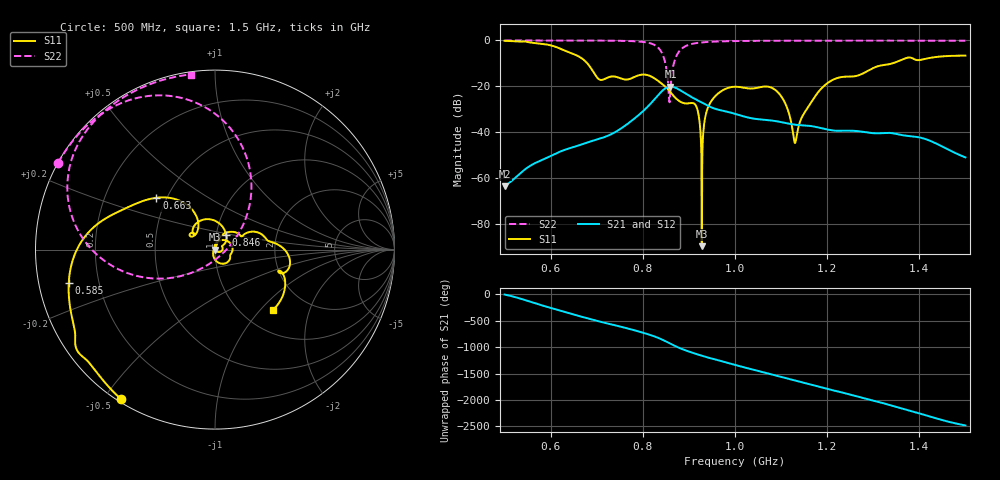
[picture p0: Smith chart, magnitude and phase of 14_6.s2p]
! TOUCHSTONE file generated by CST MICROWAVE STUDIO
! Date and time: Sat Oct 24 11:44:46 2020
! Project name: Scenario_1_Circular_Tissue_out_of_Line.cst
! Parameters = {dy1=-120.567; L_HA=400; MT=2.54; Rad_Dielectric=30; Rad_Lower=7.3; Rad_Upper=30; a_HA=580; a_WG=246; b_HA=500; b_WG=121; c_HA=0; c_WG=187; d_feed=85; dx1=1039; h_feed=15; h_lower=18; h_upper=40}
! Header version: 2018
! Port assignment regex: !\s*Touchstone port\s*([0-9]+)\s*=\s*(CST MWS port|CST DS port)\s*([0-9]+|Zmin|Zmax)\s*\(\"(.*)\"\)(\s*mode\s*([0-9]+))?.*
! Touchstone port assignment:
! Touchstone port 1 = CST MWS port 1 ("")
! Touchstone port 2 = CST MWS port 2 ("")
# GHz S DB R 50
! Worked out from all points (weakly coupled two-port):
!   1001 points, 500 MHz to 1.5 GHz, reference 50 ohm
!   highest |S21| = -20.08 dB at 860 MHz (marker M1); lowest = -63.5 dB at 500 MHz (marker M2)
!   lowest |S11| = -89.6 dB at 928 MHz (marker M3), VSWR 1.00, Z = 50 + j0.00303 ohm
!   |S11| at or under -10 dB: 679.5 MHz to 1.341 GHz (661.7 MHz wide, 65.5 % of centre)
!   |S22| runs from -26.9 to 0.0 dB; largest |S21 - S12| = 2.1e-05
!   S11 on the Smith chart (normalised r, x): 500 MHz: 0.01, -0.55; 585 MHz: 0.09, -0.11; 663 MHz: 0.44, +0.31; 846 MHz: 1.12, +0.19; 1.5 GHz: 1.37, -1.18
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0.5  -0.15 -122.3  -63.49 -3.1  -63.49 -3.1  -0.01 151.1
0.585  -1.55 -167.1  -51.72 142.0  -51.72 142.0  -0.02 145.2
0.663  -7.21 138.5  -45.56 -53.6  -45.56 -53.6  -0.04 138.8
0.667  -7.73 134.9  -45.29 -63.1  -45.29 -63.1  -0.04 138.4
0.708  -17.19 138.6  -42.68 -158.3  -42.68 -158.3  -0.07 133.9
0.789  -15.30 134.8  -32.81 22.9  -32.81 22.9  -0.44 117.4
0.834  -17.73 69.1  -23.66 -105.4  -23.66 -105.4  -3.28 83.2
0.846  -19.66 53.3  -21.26 -152.6  -21.26 -152.6  -7.80 60.1
0.86  -22.52 35.6  -20.08 145.3  -20.08 145.3  -20.89 -113.8
0.876  -25.94 28.7  -21.11 78.8  -21.11 78.8  -5.58 -166.7
0.914  -28.02 -6.6  -25.57 -42.6  -25.57 -42.7  -1.21 160.6
0.928  -89.59 66.0  -27.05 -81.0  -27.05 -81.0  -0.86 155.1
0.937  -31.95 92.0  -28.00 -104.4  -28.00 -104.3  -0.71 152.3
0.947  -26.91 73.2  -28.99 -128.6  -28.99 -128.6  -0.58 149.7
1  -20.16 3.9  -31.96 105.4  -31.96 105.4  -0.27 140.3
1.089  -21.80 -70.0  -35.15 -97.9  -35.15 -97.9  -0.13 130.7
1.112  -28.79 -104.8  -36.07 -151.0  -36.07 -151.0  -0.12 128.7
1.13  -44.69 158.5  -36.68 169.6  -36.68 169.6  -0.11 127.2
1.167  -26.45 72.4  -37.34 85.1  -37.35 85.1  -0.10 124.2
1.213  -17.08 45.2  -39.22 -16.6  -39.23 -16.5  -0.09 120.6
1.334  -10.37 8.9  -40.25 69.7  -40.25 69.8  -0.09 111.5
1.5  -6.63 -46.2  -50.95 39.5  -50.96 39.5  -0.13 97.9
